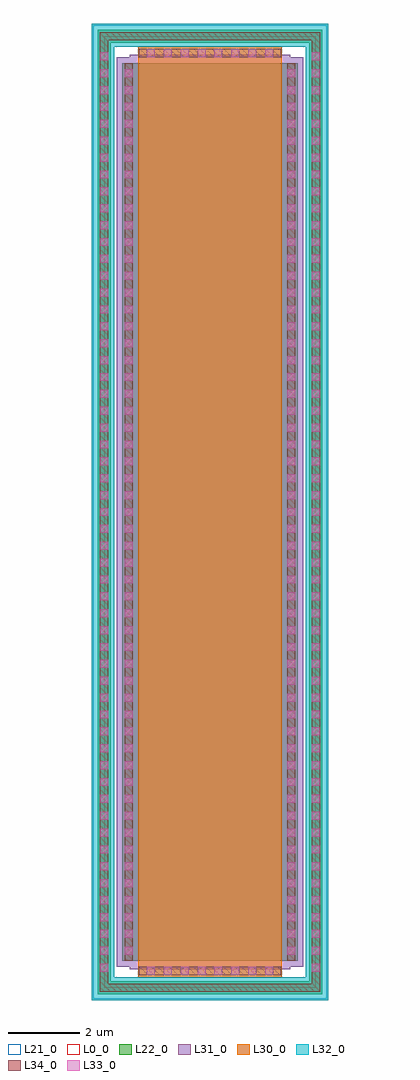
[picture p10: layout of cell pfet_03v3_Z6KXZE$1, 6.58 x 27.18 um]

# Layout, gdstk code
import gdstk
lib = gdstk.Library(unit=1e-6, precision=1e-09)
def R(c, l, rs):  # rectangles x0, y0, x1, y1
    for r in rs: c.add(gdstk.rectangle(r[:2], r[2:], *l))
def A(c, l, x, y, w, h, nx, ny, dx, dy):  # array of equal rectangles
    R(c, l, [(x+i*dx, y+j*dy, x+i*dx+w, y+j*dy+h) for i in range(nx) for j in range(ny)])
L0_0 = (0, 0)
L21_0 = (21, 0)
L22_0 = (22, 0)
L30_0 = (30, 0)
L31_0 = (31, 0)
L32_0 = (32, 0)
L33_0 = (33, 0)
L34_0 = (34, 0)

pfet_03v3_z6kxze_1 = lib.new_cell('pfet_03v3_Z6KXZE$1')
R(pfet_03v3_z6kxze_1, L0_0, [(-2.95,-13.25,2.95,13.25)])
R(pfet_03v3_z6kxze_1, L21_0, [(-3.25,-13.55,3.25,13.55)])
R(pfet_03v3_z6kxze_1, L22_0, [(-3.13,-13.43,3.13,-13.07), (-3.13,-13.07,-2.77,13.07), (2.77,-13.07,3.13,13.07), (-2.44,-12.5,2.44,12.5), (-3.13,13.07,3.13,13.43)])
R(pfet_03v3_z6kxze_1, L30_0, [(-2,-12.96,2,12.96)])
R(pfet_03v3_z6kxze_1, L31_0, [(-2.23,-12.73,2.23,-12.66), (-2.6,-12.66,2.6,12.66), (-2.23,12.66,2.23,12.73)])
R(pfet_03v3_z6kxze_1, L32_0, [(-3.29,-13.59,3.29,-12.96), (-3.29,-12.96,-2.66,12.96), (2.66,-12.96,3.29,12.96), (-3.29,12.96,3.29,13.59)])
A(pfet_03v3_z6kxze_1, L33_0, -1.755, -12.89, 0.22, 0.22, 8, 2, 0.47, 25.56)
A(pfet_03v3_z6kxze_1, L33_0, -3.06, -12.8, 0.22, 0.22, 1, 55, 0, 0.47)
A(pfet_03v3_z6kxze_1, L33_0, 2.84, -12.8, 0.22, 0.22, 1, 55, 0, 0.47)
A(pfet_03v3_z6kxze_1, L33_0, -2.37, -12.33, 0.22, 0.22, 1, 53, 0, 0.47)
A(pfet_03v3_z6kxze_1, L33_0, 2.15, -12.33, 0.22, 0.22, 1, 53, 0, 0.47)
R(pfet_03v3_z6kxze_1, L34_0, [(-3.065,-13.365,3.065,-13.135), (-3.065,-13.135,-2.835,13.135), (2.835,-13.135,3.065,13.135), (-1.99,-12.895,1.99,-12.665), (-2.375,-12.49,-2.145,12.49), (2.145,-12.49,2.375,12.49), (-1.99,12.665,1.99,12.895), (-3.065,13.135,3.065,13.365)])

lib.write_gds('pfet_03v3_Z6KXZE_1.gds')
